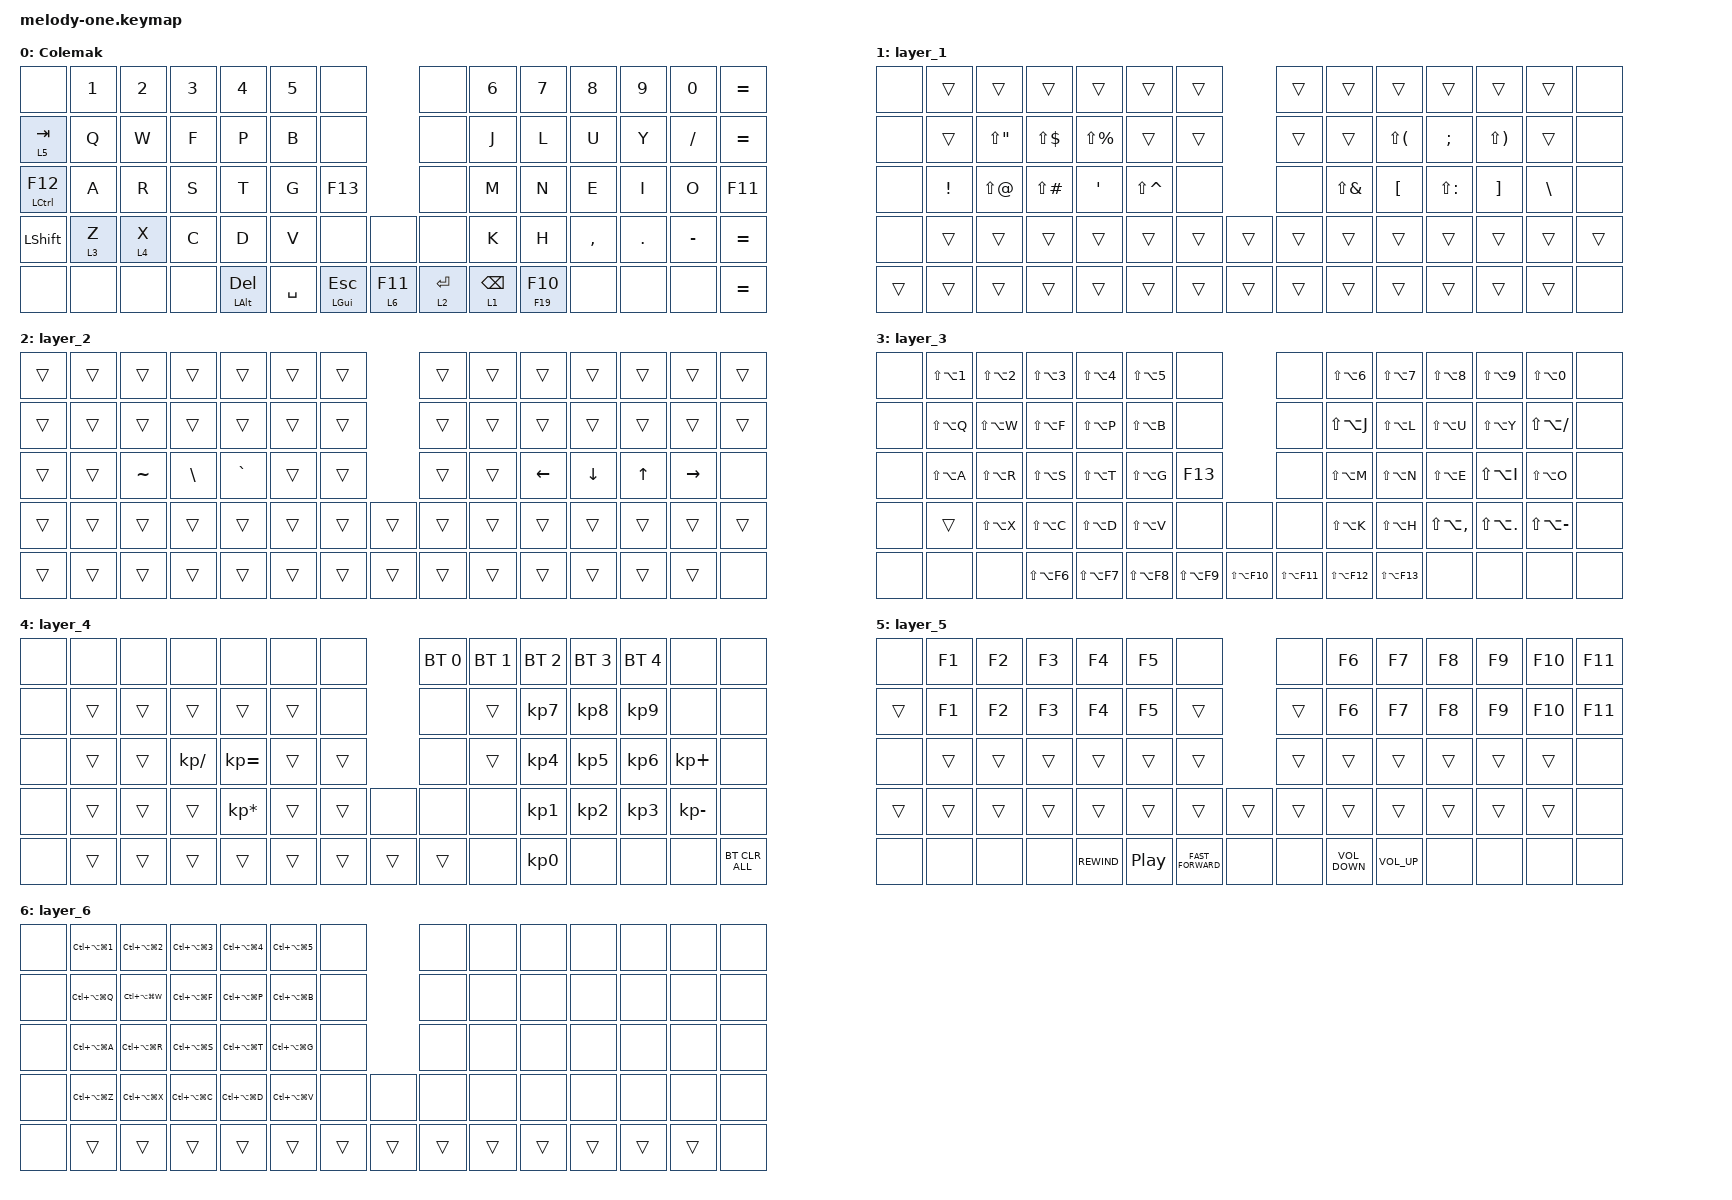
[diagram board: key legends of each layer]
#include <behaviors.dtsi>
#include <dt-bindings/zmk/bt.h>
#include <dt-bindings/zmk/keys.h>

#define CONFIG_WIRELESS 1

&mt {
    flavor = "tap-preferred";
    tapping-term-ms = <130>;
    quick-tap-ms = <0>;
};

&lt {
    flavor = "tap-preferred";
    tapping-term-ms = <130>;
    quick-tap-ms = <0>;
};

/ {
    keymap {
        compatible = "zmk,keymap";

        Colemak {
            bindings = <
&none              &kp NUMBER_1     &kp NUMBER_2     &kp NUMBER_3     &kp NUMBER_4     &kp NUMBER_5     &none            &none             &kp NUMBER_6     &kp NUMBER_7     &kp NUMBER_8     &kp NUMBER_9     &kp NUMBER_0  &kp EQUAL
&lt 5 TAB          &kp Q            &kp W            &kp F            &kp P            &kp B            &none            &none             &kp J            &kp L            &kp U            &kp Y            &kp SLASH     &kp EQUAL
&mt LEFT_CONTROL F12  &kp A        &kp R            &kp S            &kp T            &kp G            &kp F13          &none             &kp M            &kp N            &kp E            &kp I            &kp O         &kp F11
&kp LEFT_SHIFT    &lt 3 Z          &lt 4 X          &kp C            &kp D            &kp V            &none   &none    &none             &kp K            &kp H            &kp COMMA        &kp DOT          &kp MINUS     &kp EQUAL
&none              &none            &none            &none            &mt LEFT_ALT DELETE  &kp SPACE   &mt LGUI ESCAPE  &lt 6 F11        &lt 2 ENTER      &lt 1 BACKSPACE  &mt F19 F10  &none       &none         &none      &kp EQUAL
            >;
        };

        layer_1 {
            bindings = <
&none  &trans  &trans       &trans        &trans         &trans        &trans          &trans        &trans  &trans        &trans         &trans        &trans    &none
&none  &trans  &kp LS(DQT)  &kp LS(DLLR)  &kp LS(PRCNT)  &trans        &trans          &trans        &trans  &kp LS(LPAR)  &kp SEMI       &kp LS(RPAR)  &trans    &none
&none  &kp EXCLAMATION  &kp LS(AT)  &kp LS(POUND)  &kp SQT  &kp LS(CARET)  &none        &none         &kp LS(AMPS)  &kp LBKT      &kp LS(COLON)  &kp RBKT      &kp BSLH  &none
&none  &trans  &trans       &trans        &trans         &trans        &trans  &trans  &trans        &trans        &trans        &trans         &trans        &trans    &trans
&trans &trans  &trans       &trans        &trans         &trans        &trans  &trans  &trans        &trans        &trans        &trans         &trans        &trans    &none
            >;
        };

        layer_2 {
            bindings = <
&trans  &trans  &trans     &trans    &trans     &trans  &trans        &trans  &trans  &trans    &trans    &trans  &trans     &trans
&trans  &trans  &trans     &trans    &trans     &trans  &trans        &trans  &trans  &trans    &trans    &trans  &trans     &trans
&trans  &trans  &kp TILDE  &kp BSLH  &kp GRAVE  &trans  &trans        &trans  &trans  &kp LEFT  &kp DOWN  &kp UP  &kp RIGHT  &none
&trans  &trans  &trans     &trans    &trans     &trans  &trans  &trans  &trans  &trans    &trans    &trans  &trans     &trans  &trans
&trans  &trans  &trans     &trans    &trans     &trans  &trans  &trans  &trans  &trans    &trans    &trans  &trans     &trans  &none
            >;
        };

        layer_3 {
            bindings = <
&none  &kp LS(LA(NUMBER_1))  &kp LS(LA(NUMBER_2))  &kp LS(LA(NUMBER_3))  &kp LS(LA(NUMBER_4))  &kp LS(LA(NUMBER_5))  &none               &none                 &kp LS(LA(NUMBER_6))  &kp LS(LA(NUMBER_7))  &kp LS(LA(NUMBER_8))  &kp LS(LA(NUMBER_9))  &kp LS(LA(NUMBER_0))  &none
&none  &kp LS(LA(Q))         &kp LS(LA(W))         &kp LS(LA(F))         &kp LS(LA(P))         &kp LS(LA(B))         &none               &none                 &kp LS(LA(J))         &kp LS(LA(L))         &kp LS(LA(U))         &kp LS(LA(Y))         &kp LS(LA(SLASH))     &none
&none  &kp LS(LA(A))         &kp LS(LA(R))         &kp LS(LA(S))         &kp LS(LA(T))         &kp LS(LA(G))         &kp F13             &none                 &kp LS(LA(M))         &kp LS(LA(N))         &kp LS(LA(E))         &kp LS(LA(I))         &kp LS(LA(O))         &none
&none  &trans                &kp LS(LA(X))         &kp LS(LA(C))         &kp LS(LA(D))         &kp LS(LA(V))         &none  &none       &none                 &kp LS(LA(K))         &kp LS(LA(H))         &kp LS(LA(COMMA))     &kp LS(LA(DOT))       &kp LS(LA(MINUS))     &none
&none  &none                 &none                 &kp LS(LA(F6))        &kp LS(LA(F7))        &kp LS(LA(F8))        &kp LS(LA(F9))  &kp LS(LA(F10))  &kp LS(LA(F11))       &kp LS(LA(F12))       &kp LS(LA(F13))       &none                 &none                 &none                 &none
            >;
        };

        layer_4 {
            bindings = <
&none  &none   &none      &none     &none       &none   &none         &bt BT_SEL 0  &bt BT_SEL 1  &bt BT_SEL 2  &bt BT_SEL 3  &bt BT_SEL 4  &none     &none
&none  &trans  &trans     &trans        &trans          &trans  &none         &none   &trans  &kp KP_N7  &kp KP_N8  &kp KP_N9  &none        &none
&none  &trans  &trans     &kp KP_SLASH  &kp KP_EQUAL    &trans  &trans        &none   &trans  &kp KP_N4  &kp KP_N5  &kp KP_N6  &kp KP_PLUS  &none
&none  &trans  &trans     &trans        &kp KP_ASTERISK  &trans  &trans  &none  &none   &none    &kp KP_N1  &kp KP_N2  &kp KP_N3    &kp KP_MINUS  &none
&none  &trans  &trans     &trans        &trans          &trans  &trans  &trans  &trans  &none    &kp KP_N0  &none      &none        &none         &bt BT_CLR_ALL
            >;
        };

        layer_5 {
            bindings = <
&none   &kp F1  &kp F2  &kp F3  &kp F4      &kp F5      &none          &none       &kp F6             &kp F7           &kp F8  &kp F9  &kp F10  &kp F11
&trans  &kp F1  &kp F2  &kp F3  &kp F4      &kp F5      &trans         &trans      &kp F6             &kp F7           &kp F8  &kp F9  &kp F10  &kp F11
&none   &trans  &trans  &trans  &trans      &trans      &trans         &trans      &trans             &trans           &trans  &trans  &trans   &none
&trans  &trans  &trans  &trans  &trans      &trans      &trans  &trans  &trans     &trans             &trans           &trans  &trans   &trans   &none
&none   &none   &none   &none   &kp C_REWIND  &kp C_PLAY_PAUSE  &kp C_FAST_FORWARD  &none  &none  &kp C_VOLUME_DOWN  &kp C_VOLUME_UP  &none   &none    &none    &none
            >;
        };

        layer_6 {
            bindings = <
&none  &kp LC(LA(LG(NUMBER_1)))  &kp LC(LA(LG(NUMBER_2)))  &kp LC(LA(LG(NUMBER_3)))  &kp LC(LA(LG(NUMBER_4)))  &kp LC(LA(LG(NUMBER_5)))  &none       &none       &none  &none  &none  &none  &none  &none
&none  &kp LC(LA(LG(Q)))         &kp LC(LA(LG(W)))         &kp LC(LA(LG(F)))         &kp LC(LA(LG(P)))         &kp LC(LA(LG(B)))         &none       &none       &none  &none  &none  &none  &none  &none
&none  &kp LC(LA(LG(A)))         &kp LC(LA(LG(R)))         &kp LC(LA(LG(S)))         &kp LC(LA(LG(T)))         &kp LC(LA(LG(G)))         &none       &none       &none  &none  &none  &none  &none  &none
&none  &kp LC(LA(LG(Z)))         &kp LC(LA(LG(X)))         &kp LC(LA(LG(C)))         &kp LC(LA(LG(D)))         &kp LC(LA(LG(V)))         &none  &none  &none       &none  &none  &none  &none  &none  &none
&none  &trans                    &trans                    &trans                    &trans                    &trans                    &trans  &trans  &trans      &trans &trans &trans &trans &trans &none
            >;
        };
    };
};
